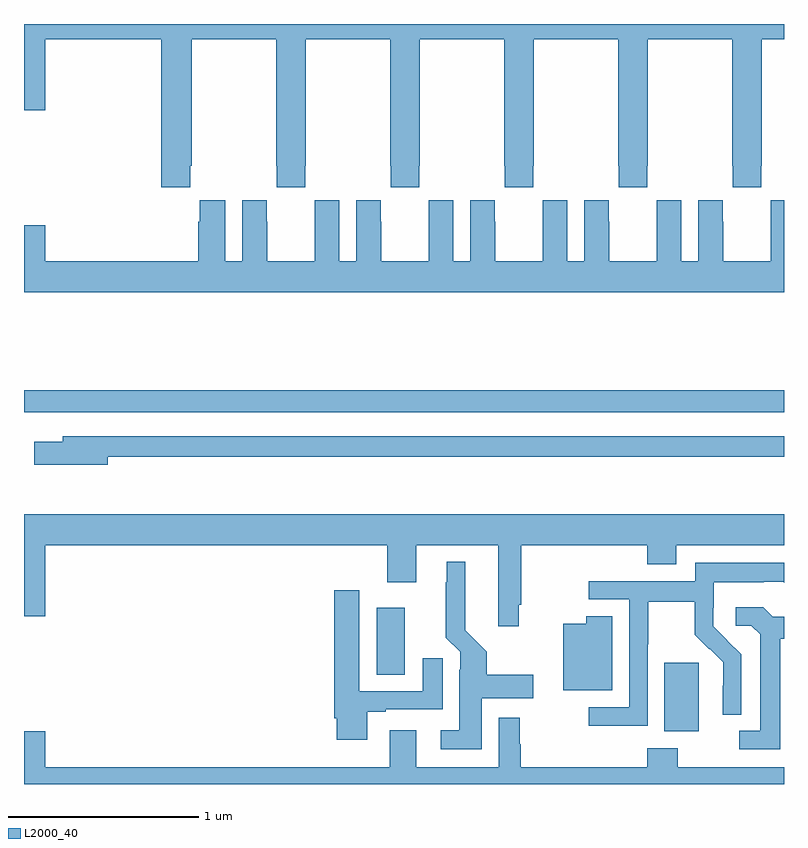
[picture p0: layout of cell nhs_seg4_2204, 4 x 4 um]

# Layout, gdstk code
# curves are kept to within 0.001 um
import gdstk
lib = gdstk.Library(unit=1e-6, precision=1e-09)
def R(c, l, rs):  # rectangles x0, y0, x1, y1
    for r in rs: c.add(gdstk.rectangle(r[:2], r[2:], *l))
def P(c, l, *ps):  # polygons
    for p in ps: c.add(gdstk.Polygon(p, *l))
L2000_40 = (2000, 40)

nhs_seg4_2204 = lib.new_cell('nhs_seg4_2204')
R(nhs_seg4_2204, L2000_40, [(228.371,793.178,228.55,793.539), (226.856,793.474,227.005,793.828), (225,794.856,229,794.972)])
P(nhs_seg4_2204, L2000_40, [(225.875,796.153),(225.882,796.153),(225.882,796.82),(226.327,796.82),(226.327,796.153),(226.329,796.153),(226.329,796.041),(226.479,796.041),(226.479,796.153),(226.482,796.153),(226.482,796.82),(226.927,796.82),(226.927,796.153),(226.929,796.153),(226.929,796.041),(227.079,796.041),(227.079,796.153),(227.082,796.153),(227.082,796.82),(227.527,796.82),(227.527,796.153),(227.529,796.153),(227.529,796.041),(227.679,796.041),(227.679,796.153),(227.682,796.153),(227.682,796.82),(228.127,796.82),(228.127,796.153),(228.129,796.153),(228.129,796.041),(228.279,796.041),(228.279,796.153),(228.282,796.153),(228.282,796.82),(228.727,796.82),(228.727,796.153),(228.729,796.153),(228.729,796.041),(228.879,796.041),(228.879,796.153),(228.882,796.153),(228.882,796.82),(229,796.82),(229,796.9),(225,796.9),(225,796.446),(225.112,796.446),(225.112,796.82),(225.722,796.82),(225.722,796.041),(225.875,796.041)],
  [(229,795.973),(228.93,795.973),(228.93,795.86),(228.929,795.86),(228.929,795.652),(228.679,795.652),(228.679,795.86),(228.678,795.86),(228.678,795.973),(228.548,795.973),(228.548,795.652),(228.46,795.652),(228.46,795.973),(228.33,795.973),(228.33,795.86),(228.329,795.86),(228.329,795.652),(228.079,795.652),(228.079,795.86),(228.078,795.86),(228.078,795.973),(227.948,795.973),(227.948,795.652),(227.86,795.652),(227.86,795.973),(227.73,795.973),(227.73,795.86),(227.729,795.86),(227.729,795.652),(227.479,795.652),(227.479,795.86),(227.478,795.86),(227.478,795.973),(227.348,795.973),(227.348,795.652),(227.26,795.652),(227.26,795.973),(227.13,795.973),(227.13,795.86),(227.129,795.86),(227.129,795.652),(226.879,795.652),(226.879,795.86),(226.878,795.86),(226.878,795.973),(226.748,795.973),(226.748,795.652),(226.66,795.652),(226.66,795.973),(226.53,795.973),(226.53,795.86),(226.529,795.86),(226.529,795.652),(226.279,795.652),(226.279,795.86),(226.278,795.86),(226.278,795.973),(226.148,795.973),(226.148,795.652),(226.06,795.652),(226.06,795.973),(225.926,795.973),(225.926,795.86),(225.917,795.86),(225.917,795.652),(225.112,795.652),(225.112,795.841),(225,795.841),(225,795.488),(229,795.488)],
  [(225.442,794.622),(229,794.622),(229,794.73),(225.203,794.73),(225.203,794.701),(225.054,794.701),(225.054,794.579),(225.442,794.579)],
  [(227.605,793.843),(227.618,793.843),(227.618,794.156),(228.281,794.156),(228.281,794.057),(228.433,794.057),(228.433,794.156),(229,794.156),(229,794.32),(225,794.32),(225,793.782),(225.112,793.782),(225.112,794.156),(226.913,794.156),(226.913,793.962),(227.065,793.962),(227.065,794.156),(227.495,794.156),(227.495,793.731),(227.605,793.731)],
  [(227.41,793.352),(227.68,793.352),(227.68,793.474),(227.436,793.474),(227.436,793.595),(227.323,793.708),(227.323,794.071),(227.225,794.071),(227.225,793.961),(227.221,793.961),(227.221,793.67),(227.295,793.596),(227.295,793.502),(227.291,793.502),(227.291,793.183),(227.193,793.183),(227.193,793.082),(227.41,793.082)],
  [(228.282,793.636),(228.285,793.636),(228.285,793.86),(228.529,793.86),(228.529,793.685),(228.606,793.608),(228.609,793.611),(228.68,793.541),(228.68,793.418),(228.678,793.418),(228.678,793.264),(228.774,793.264),(228.774,793.582),(228.628,793.73),(228.628,793.827),(228.63,793.827),(228.63,793.961),(228.893,793.961),(228.893,793.965),(228.993,793.965),(229,793.958),(229,794.065),(228.534,794.065),(228.534,793.968),(227.973,793.968),(227.973,793.872),(228.186,793.872),(228.186,793.305),(227.973,793.305),(227.973,793.207),(228.282,793.207)],
  [(226.807,793.281),(226.903,793.281),(226.903,793.293),(227.203,793.293),(227.203,793.561),(227.099,793.561),(227.099,793.389),(226.765,793.389),(226.765,793.921),(226.634,793.921),(226.634,793.246),(226.646,793.246),(226.646,793.134),(226.807,793.134)],
  [(228.979,793.664),(229,793.664),(229,793.779),(228.942,793.779),(228.89,793.831),(228.747,793.831),(228.747,793.734),(228.828,793.734),(228.875,793.687),(228.875,793.179),(228.765,793.179),(228.765,793.083),(228.979,793.083)],
  [(228.097,793.783),(227.959,793.783),(227.959,793.744),(227.837,793.744),(227.837,793.394),(228.097,793.394)],
  [(229,792.988),(228.441,792.988),(228.441,793.087),(228.281,793.087),(228.281,792.988),(227.615,792.988),(227.615,793.11),(227.608,793.11),(227.608,793.249),(227.499,793.249),(227.499,792.988),(227.065,792.988),(227.065,793.183),(226.925,793.183),(226.925,792.988),(225.112,792.988),(225.112,793.177),(225,793.177),(225,792.9),(229,792.9)])

lib.write_gds('nhs_seg4_2204.gds')
